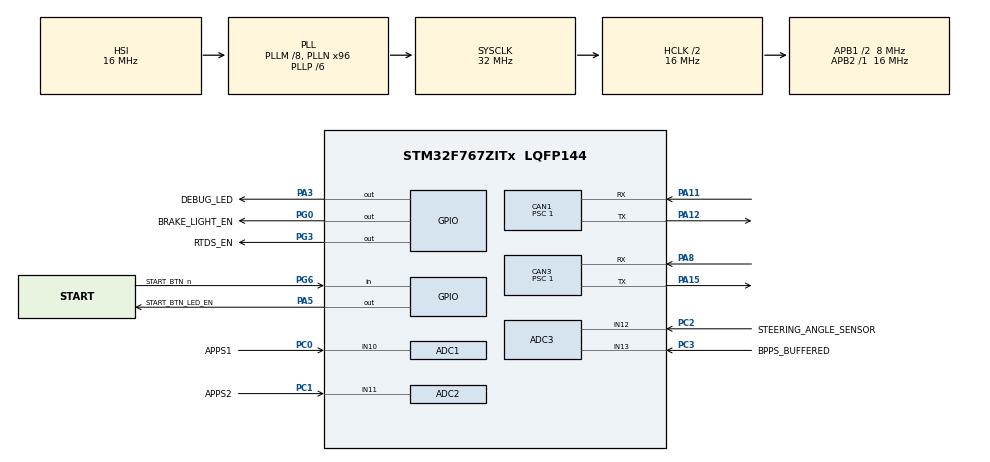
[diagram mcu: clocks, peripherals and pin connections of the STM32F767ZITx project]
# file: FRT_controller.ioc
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ADC1.Channel-0\#ChannelRegularConversion=ADC_CHANNEL_10
ADC1.ContinuousConvMode=ENABLE
ADC1.NbrOfConversionFlag=1
ADC1.Rank-0\#ChannelRegularConversion=1
ADC1.SamplingTime-0\#ChannelRegularConversion=ADC_SAMPLETIME_3CYCLES
ADC1.master=1
ADC2.Channel-0\#ChannelRegularConversion=ADC_CHANNEL_11
ADC2.ContinuousConvMode=ENABLE
ADC2.NbrOfConversionFlag=1
ADC2.Rank-0\#ChannelRegularConversion=1
ADC2.SamplingTime-0\#ChannelRegularConversion=ADC_SAMPLETIME_3CYCLES
ADC3.Channel-0\#ChannelRegularConversion=ADC_CHANNEL_12
ADC3.NbrOfConversionFlag=1
ADC3.Rank-0\#ChannelRegularConversion=1
ADC3.SamplingTime-0\#ChannelRegularConversion=ADC_SAMPLETIME_3CYCLES
CAN1.ABOM=ENABLE
CAN1.AWUM=DISABLE
CAN1.BS1=CAN_BS1_13TQ
CAN1.BS2=CAN_BS2_2TQ
CAN1.CalculateBaudRate=500000
CAN1.CalculateTimeBit=2000
CAN1.CalculateTimeQuantum=125.0
CAN1.NART=DISABLE
CAN1.Prescaler=1
CAN1.RFLM=DISABLE
CAN1.TTCM=DISABLE
CAN1.TXFP=DISABLE
CAN3.ABOM=ENABLE
CAN3.BS1=CAN_BS1_13TQ
CAN3.BS2=CAN_BS2_2TQ
CAN3.CalculateBaudRate=500000
CAN3.CalculateTimeBit=2000
CAN3.CalculateTimeQuantum=125.0
CAN3.Prescaler=1
Mcu.Family=STM32F7
Mcu.Name=STM32F767ZITx
Mcu.Package=LQFP144
NVIC.CAN1_RX0_IRQn=true\:0\:0\:false\:false\:true\:true\:true\:true
NVIC.PriorityGroup=NVIC_PRIORITYGROUP_4
PA11.Mode=CAN_Activate
PA11.Signal=CAN1_RX
PA12.Mode=CAN_Activate
PA12.Signal=CAN1_TX
PA15.Mode=CAN_Activate
PA15.Signal=CAN3_TX
PA3.GPIO_Label=DEBUG_LED
PA3.Signal=GPIO_Output
PA5.GPIO_Label=START_BTN_LED_EN
PA5.Signal=GPIO_Output
PA8.Mode=CAN_Activate
PA8.Signal=CAN3_RX
PC0.GPIO_Label=APPS1
PC0.Signal=ADCx_IN10
PC1.GPIO_Label=APPS2
PC1.Signal=ADCx_IN11
PC2.GPIO_Label=STEERING_ANGLE_SENSOR
PC2.Signal=ADCx_IN12
PC3.GPIO_Label=BPPS_BUFFERED
PC3.Signal=ADCx_IN13
PG0.GPIO_Label=BRAKE_LIGHT_EN
PG0.Signal=GPIO_Output
PG3.GPIO_Label=RTDS_EN
PG3.Signal=GPIO_Output
PG6.GPIO_Label=START_BTN_n
PG6.Signal=GPIO_Input
ProjectManager.HeapSize=0x200
ProjectManager.StackSize=0x400
ProjectManager.TargetToolchain=STM32CubeIDE
RCC.AHBCLKDivider=RCC_SYSCLK_DIV2
RCC.AHBFreq_Value=16000000
RCC.APB1CLKDivider=RCC_HCLK_DIV2
RCC.APB1Freq_Value=8000000
RCC.APB1TimFreq_Value=16000000
RCC.APB2Freq_Value=16000000
RCC.APB2TimFreq_Value=16000000
RCC.CortexFreq_Value=16000000
RCC.HCLKFreq_Value=16000000
RCC.HSE_VALUE=8000000
RCC.HSI_VALUE=16000000
RCC.LSE_VALUE=32768
RCC.PLLM=8
RCC.PLLN=96
RCC.PLLP=RCC_PLLP_DIV6
RCC.SYSCLKFreq_VALUE=32000000
RCC.SYSCLKSource=RCC_SYSCLKSOURCE_PLLCLK
RCC.USBFreq_Value=96000000
RCC.VCOOutputFreq_Value=192000000
SH.ADCx_IN10.0=ADC1_IN10,IN10
SH.ADCx_IN11.0=ADC2_IN11,IN11
SH.ADCx_IN12.0=ADC3_IN12,IN12
SH.ADCx_IN13.0=ADC3_IN13,IN13
board=custom

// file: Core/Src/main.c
/* USER CODE BEGIN Header */
/**
  ******************************************************************************
  * @file           : main.c
  * @brief          : Main program body
  ******************************************************************************
  * @attention
  *
  * Copyright (c) 2023 STMicroelectronics.
  * All rights reserved.
  *
  * This software is licensed under terms that can be found in the LICENSE file
  * in the root directory of this software component.
  * If no LICENSE file comes with this software, it is provided AS-IS.
  *
  ******************************************************************************
  */
/* USER CODE END Header */
#include "main.h"

/* USER CODE BEGIN Includes */
#include <string.h>
#include <stdbool.h>
#include <stdlib.h>
/* USER CODE END Includes */

/* USER CODE BEGIN PTD */
typedef enum {
	STATUS_UNKNOWN = 0,
	STATUS_SYSTEM_READY,
	STATUS_DC_ON,
	STATUS_QUIT_DC_ON,
	STATUS_INVERTER_ON,
	STATUS_QUIT_INVERTER_ON, //Running status
	STATUS_DERATING,
	STATUS_ERROR,
	STATUS_RUNNING,
} AMK_Status;

typedef enum {
	CONTROL_UNKNOWN = 0,
	CONTROL_DC_ON,
	CONTROL_ENABLE,
	CONTROL_INVERTER_ON,
	CONTROL_TS_READY,
	CONTROL_ERROR_RESET_RIGHT,
	CONTROL_ERROR_RESET_LEFT,
	CONTROL_RUNNING,
} AMK_Control;
/* USER CODE END PTD */

/* USER CODE BEGIN PM */
#define APPS1_MAX_VALUE (85u)
#define APPS1_MIN_VALUE (14u)
#define APPS2_MAX_VALUE (75u)
#define APPS2_MIN_VALUE (5u)
#define BPPS_MAX_VALUE (25u)
#define BPPS_MIN_VALUE (10u)
#define MAX_ADC_VALUE (4095u)
/* USER CODE END PM */

ADC_HandleTypeDef hadc1;
ADC_HandleTypeDef hadc2;
ADC_HandleTypeDef hadc3;

CAN_HandleTypeDef hcan1;
CAN_HandleTypeDef hcan3;

/* USER CODE BEGIN PV */
CAN_TxHeaderTypeDef TxHeader;
CAN_TxHeaderTypeDef AMK_TxHeader_L;
CAN_RxHeaderTypeDef RxHeader;
CAN_RxHeaderTypeDef RxHeader_2;
uint8_t TxData[8];
uint8_t AMK_TxData_L[8];
uint8_t RxData[8];
uint8_t RxData_2[8];
uint32_t TxMailbox;
AMK_Status MotorStatus_R = 0;
AMK_Status MotorStatus_L = 0;
AMK_Control ControlStatus = 0;
_Bool TsOn_n = 0;
_Bool BrakeOn = 0; //FOR TESTING ONLY, needs to be 0 in production
_Bool ReadyToDrive_n = 0;
_Bool PedalConflict = 0;

uint16_t APPS1_VAL;
uint16_t APPS2_VAL;
uint16_t BPPS_VAL;
/* USER CODE END PV */

void SystemClock_Config(void);
static void MX_GPIO_Init(void);
static void MX_CAN1_Init(void);
static void MX_ADC1_Init(void);
static void MX_ADC2_Init(void);
static void MX_ADC3_Init(void);
static void MX_CAN3_Init(void);
/* USER CODE BEGIN PFP */
static void CAN_Config(void);
/* USER CODE END PFP */

/* USER CODE BEGIN 0 */
uint16_t APPS1_ADC_Percent(void) {
	uint16_t ADC_VAL;

	HAL_ADC_Start(&hadc1);
	HAL_ADC_PollForConversion(&hadc1, 10);
	ADC_VAL = HAL_ADC_GetValue(&hadc1);
	HAL_ADC_Stop(&hadc1);
	return ADC_VAL;
}

uint16_t APPS2_ADC_Percent(void) {
	uint16_t ADC_VAL;

	HAL_ADC_Start(&hadc2);
	HAL_ADC_PollForConversion(&hadc2, 10);
	ADC_VAL = HAL_ADC_GetValue(&hadc2);
	HAL_ADC_Stop(&hadc2);
	return ADC_VAL;
}

uint16_t BPPS_ADC_Percent(void) {
	uint16_t ADC_VAL;

	HAL_ADC_Start(&hadc3);
	HAL_ADC_PollForConversion(&hadc3, 10);
	ADC_VAL = HAL_ADC_GetValue(&hadc3);
	HAL_ADC_Stop(&hadc3);
	return ADC_VAL;
}

/* USER CODE END 0 */

int main(void)
{

  /* MCU Configuration--------------------------------------------------------*/

  /* Reset of all peripherals, Initializes the Flash interface and the Systick. */
  HAL_Init();

  /* Configure the system clock */
  SystemClock_Config();

  /* Initialize all configured peripherals */
  MX_GPIO_Init();
  MX_CAN1_Init();
  MX_ADC1_Init();
  MX_ADC2_Init();
  MX_ADC3_Init();
  MX_CAN3_Init();
  /* USER CODE BEGIN 2 */
  	CAN_Config();

	if (HAL_CAN_ActivateNotification(&hcan1, CAN_IT_RX_FIFO0_MSG_PENDING) != HAL_OK)
	{
	  Error_Handler();
	}
	// Initialize TxHeader and TxData
	TxHeader.DLC = 8;
	TxHeader.IDE = CAN_ID_STD;
	TxHeader.RTR = CAN_RTR_DATA;
	TxHeader.StdId = 0x1FF;
	TxHeader.TransmitGlobalTime = DISABLE;

	TxData[0] = 0x00;
	TxData[1] = 0x00;
	TxData[2] = 0x00;
	TxData[3] = 0x00;
	TxData[4] = 0x00;
	TxData[5] = 0x00;
	TxData[6] = 0x00;
	TxData[7] = 0x00;
  /* USER CODE END 2 */

  /* Infinite loop */
  /* USER CODE BEGIN WHILE */
  while (1)
  {
	  HAL_Delay(10);
	  APPS1_VAL = APPS1_ADC_Percent();
	  APPS2_VAL = APPS2_ADC_Percent();
	  //BPPS_VAL = BPPS_ADC_Percent();
	  BPPS_VAL = 1000;
	  ReadyToDrive_n = HAL_GPIO_ReadPin(START_BTN_n_GPIO_Port, START_BTN_n_Pin);
	  //HAL_GPIO_TogglePin(START_BTN_LED_EN_GPIO_Port, START_BTN_LED_EN_Pin);
	  //HAL_GPIO_WritePin(RTDS_EN_GPIO_Port, RTDS_EN_Pin, 1);

	  TxData[1] = ReadyToDrive_n;
	  TxData[2] = APPS1_VAL & 0xFF;
	  TxData[3] = (APPS1_VAL >> 8) & 0xFF;
	  TxData[4] = APPS2_VAL & 0xFF;
	  TxData[5] = (APPS2_VAL >> 8) & 0xFF;
	  TxData[6] = BPPS_VAL & 0xFF;
	  TxData[7] = (BPPS_VAL >> 8) & 0xFF;

	  HAL_CAN_AddTxMessage(&hcan3, &TxHeader, TxData, &TxMailbox);
	  memset(&TxData[0],0x00, 8*sizeof(uint8_t));

  }
    /* USER CODE END WHILE */

}

void SystemClock_Config(void)
{
  RCC_OscInitTypeDef RCC_OscInitStruct = {0};
  RCC_ClkInitTypeDef RCC_ClkInitStruct = {0};

  /** Configure the main internal regulator output voltage
  */
  __HAL_RCC_PWR_CLK_ENABLE();
  __HAL_PWR_VOLTAGESCALING_CONFIG(PWR_REGULATOR_VOLTAGE_SCALE3);

  /** Initializes the RCC Oscillators according to the specified parameters
  * in the RCC_OscInitTypeDef structure.
  */
  RCC_OscInitStruct.OscillatorType = RCC_OSCILLATORTYPE_HSI;
  RCC_OscInitStruct.HSIState = RCC_HSI_ON;
  RCC_OscInitStruct.HSICalibrationValue = RCC_HSICALIBRATION_DEFAULT;
  RCC_OscInitStruct.PLL.PLLState = RCC_PLL_ON;
  RCC_OscInitStruct.PLL.PLLSource = RCC_PLLSOURCE_HSI;
  RCC_OscInitStruct.PLL.PLLM = 8;
  RCC_OscInitStruct.PLL.PLLN = 96;
  RCC_OscInitStruct.PLL.PLLP = RCC_PLLP_DIV6;
  RCC_OscInitStruct.PLL.PLLQ = 2;
  RCC_OscInitStruct.PLL.PLLR = 2;
  if (HAL_RCC_OscConfig(&RCC_OscInitStruct) != HAL_OK)
  {
    Error_Handler();
  }

  /** Initializes the CPU, AHB and APB buses clocks
  */
  RCC_ClkInitStruct.ClockType = RCC_CLOCKTYPE_HCLK|RCC_CLOCKTYPE_SYSCLK
                              |RCC_CLOCKTYPE_PCLK1|RCC_CLOCKTYPE_PCLK2;
  RCC_ClkInitStruct.SYSCLKSource = RCC_SYSCLKSOURCE_PLLCLK;
  RCC_ClkInitStruct.AHBCLKDivider = RCC_SYSCLK_DIV2;
  RCC_ClkInitStruct.APB1CLKDivider = RCC_HCLK_DIV2;
  RCC_ClkInitStruct.APB2CLKDivider = RCC_HCLK_DIV1;

  if (HAL_RCC_ClockConfig(&RCC_ClkInitStruct, FLASH_LATENCY_0) != HAL_OK)
  {
    Error_Handler();
  }
}

static void MX_ADC1_Init(void)
{

  ADC_ChannelConfTypeDef sConfig = {0};

  /** Configure the global features of the ADC (Clock, Resolution, Data Alignment and number of conversion)
  */
  hadc1.Instance = ADC1;
  hadc1.Init.ClockPrescaler = ADC_CLOCK_SYNC_PCLK_DIV2;
  hadc1.Init.Resolution = ADC_RESOLUTION_12B;
  hadc1.Init.ScanConvMode = ADC_SCAN_DISABLE;
  hadc1.Init.ContinuousConvMode = ENABLE;
  hadc1.Init.DiscontinuousConvMode = DISABLE;
  hadc1.Init.ExternalTrigConvEdge = ADC_EXTERNALTRIGCONVEDGE_NONE;
  hadc1.Init.ExternalTrigConv = ADC_SOFTWARE_START;
  hadc1.Init.DataAlign = ADC_DATAALIGN_RIGHT;
  hadc1.Init.NbrOfConversion = 1;
  hadc1.Init.DMAContinuousRequests = DISABLE;
  hadc1.Init.EOCSelection = ADC_EOC_SINGLE_CONV;
  if (HAL_ADC_Init(&hadc1) != HAL_OK)
  {
    Error_Handler();
  }

  /** Configure for the selected ADC regular channel its corresponding rank in the sequencer and its sample time.
  */
  sConfig.Channel = ADC_CHANNEL_10;
  sConfig.Rank = ADC_REGULAR_RANK_1;
  sConfig.SamplingTime = ADC_SAMPLETIME_3CYCLES;
  if (HAL_ADC_ConfigChannel(&hadc1, &sConfig) != HAL_OK)
  {
    Error_Handler();
  }

}

static void MX_ADC2_Init(void)
{

  ADC_ChannelConfTypeDef sConfig = {0};

  /** Configure the global features of the ADC (Clock, Resolution, Data Alignment and number of conversion)
  */
  hadc2.Instance = ADC2;
  hadc2.Init.ClockPrescaler = ADC_CLOCK_SYNC_PCLK_DIV2;
  hadc2.Init.Resolution = ADC_RESOLUTION_12B;
  hadc2.Init.ScanConvMode = ADC_SCAN_DISABLE;
  hadc2.Init.ContinuousConvMode = ENABLE;
  hadc2.Init.DiscontinuousConvMode = DISABLE;
  hadc2.Init.ExternalTrigConvEdge = ADC_EXTERNALTRIGCONVEDGE_NONE;
  hadc2.Init.ExternalTrigConv = ADC_SOFTWARE_START;
  hadc2.Init.DataAlign = ADC_DATAALIGN_RIGHT;
  hadc2.Init.NbrOfConversion = 1;
  hadc2.Init.DMAContinuousRequests = DISABLE;
  hadc2.Init.EOCSelection = ADC_EOC_SINGLE_CONV;
  if (HAL_ADC_Init(&hadc2) != HAL_OK)
  {
    Error_Handler();
  }

  /** Configure for the selected ADC regular channel its corresponding rank in the sequencer and its sample time.
  */
  sConfig.Channel = ADC_CHANNEL_11;
  sConfig.Rank = ADC_REGULAR_RANK_1;
  sConfig.SamplingTime = ADC_SAMPLETIME_3CYCLES;
  if (HAL_ADC_ConfigChannel(&hadc2, &sConfig) != HAL_OK)
  {
    Error_Handler();
  }

}

static void MX_ADC3_Init(void)
{

  ADC_ChannelConfTypeDef sConfig = {0};

  /** Configure the global features of the ADC (Clock, Resolution, Data Alignment and number of conversion)
  */
  hadc3.Instance = ADC3;
  hadc3.Init.ClockPrescaler = ADC_CLOCK_SYNC_PCLK_DIV2;
  hadc3.Init.Resolution = ADC_RESOLUTION_12B;
  hadc3.Init.ScanConvMode = ADC_SCAN_DISABLE;
  hadc3.Init.ContinuousConvMode = DISABLE;
  hadc3.Init.DiscontinuousConvMode = DISABLE;
  hadc3.Init.ExternalTrigConvEdge = ADC_EXTERNALTRIGCONVEDGE_NONE;
  hadc3.Init.ExternalTrigConv = ADC_SOFTWARE_START;
  hadc3.Init.DataAlign = ADC_DATAALIGN_RIGHT;
  hadc3.Init.NbrOfConversion = 1;
  hadc3.Init.DMAContinuousRequests = DISABLE;
  hadc3.Init.EOCSelection = ADC_EOC_SINGLE_CONV;
  if (HAL_ADC_Init(&hadc3) != HAL_OK)
  {
    Error_Handler();
  }

  /** Configure for the selected ADC regular channel its corresponding rank in the sequencer and its sample time.
  */
  sConfig.Channel = ADC_CHANNEL_12;
  sConfig.Rank = ADC_REGULAR_RANK_1;
  sConfig.SamplingTime = ADC_SAMPLETIME_3CYCLES;
  if (HAL_ADC_ConfigChannel(&hadc3, &sConfig) != HAL_OK)
  {
    Error_Handler();
  }

}

static void MX_CAN1_Init(void)
{

  hcan1.Instance = CAN1;
  hcan1.Init.Prescaler = 1;
  hcan1.Init.Mode = CAN_MODE_NORMAL;
  hcan1.Init.SyncJumpWidth = CAN_SJW_1TQ;
  hcan1.Init.TimeSeg1 = CAN_BS1_13TQ;
  hcan1.Init.TimeSeg2 = CAN_BS2_2TQ;
  hcan1.Init.TimeTriggeredMode = DISABLE;
  hcan1.Init.AutoBusOff = ENABLE;
  hcan1.Init.AutoWakeUp = DISABLE;
  hcan1.Init.AutoRetransmission = DISABLE;
  hcan1.Init.ReceiveFifoLocked = DISABLE;
  hcan1.Init.TransmitFifoPriority = DISABLE;
  if (HAL_CAN_Init(&hcan1) != HAL_OK)
  {
    Error_Handler();
  }

}

static void MX_CAN3_Init(void)
{

  hcan3.Instance = CAN3;
  hcan3.Init.Prescaler = 1;
  hcan3.Init.Mode = CAN_MODE_NORMAL;
  hcan3.Init.SyncJumpWidth = CAN_SJW_1TQ;
  hcan3.Init.TimeSeg1 = CAN_BS1_13TQ;
  hcan3.Init.TimeSeg2 = CAN_BS2_2TQ;
  hcan3.Init.TimeTriggeredMode = DISABLE;
  hcan3.Init.AutoBusOff = ENABLE;
  hcan3.Init.AutoWakeUp = DISABLE;
  hcan3.Init.AutoRetransmission = DISABLE;
  hcan3.Init.ReceiveFifoLocked = DISABLE;
  hcan3.Init.TransmitFifoPriority = DISABLE;
  if (HAL_CAN_Init(&hcan3) != HAL_OK)
  {
    Error_Handler();
  }

}

static void MX_GPIO_Init(void)
{
  GPIO_InitTypeDef GPIO_InitStruct = {0};

  /* GPIO Ports Clock Enable */
  __HAL_RCC_GPIOC_CLK_ENABLE();
  __HAL_RCC_GPIOA_CLK_ENABLE();
  __HAL_RCC_GPIOG_CLK_ENABLE();

  /*Configure GPIO pin Output Level */
  HAL_GPIO_WritePin(GPIOA, DEBUG_LED_Pin|START_BTN_LED_EN_Pin, GPIO_PIN_RESET);

  /*Configure GPIO pin Output Level */
  HAL_GPIO_WritePin(GPIOG, BRAKE_LIGHT_EN_Pin|RTDS_EN_Pin, GPIO_PIN_RESET);

  /*Configure GPIO pins : DEBUG_LED_Pin START_BTN_LED_EN_Pin */
  GPIO_InitStruct.Pin = DEBUG_LED_Pin|START_BTN_LED_EN_Pin;
  GPIO_InitStruct.Mode = GPIO_MODE_OUTPUT_PP;
  GPIO_InitStruct.Pull = GPIO_NOPULL;
  GPIO_InitStruct.Speed = GPIO_SPEED_FREQ_LOW;
  HAL_GPIO_Init(GPIOA, &GPIO_InitStruct);

  /*Configure GPIO pins : BRAKE_LIGHT_EN_Pin RTDS_EN_Pin */
  GPIO_InitStruct.Pin = BRAKE_LIGHT_EN_Pin|RTDS_EN_Pin;
  GPIO_InitStruct.Mode = GPIO_MODE_OUTPUT_PP;
  GPIO_InitStruct.Pull = GPIO_NOPULL;
  GPIO_InitStruct.Speed = GPIO_SPEED_FREQ_LOW;
  HAL_GPIO_Init(GPIOG, &GPIO_InitStruct);

  /*Configure GPIO pin : START_BTN_n_Pin */
  GPIO_InitStruct.Pin = START_BTN_n_Pin;
  GPIO_InitStruct.Mode = GPIO_MODE_INPUT;
  GPIO_InitStruct.Pull = GPIO_NOPULL;
  HAL_GPIO_Init(START_BTN_n_GPIO_Port, &GPIO_InitStruct);

}

/* USER CODE BEGIN 4 */
static void CAN_Config(void)
{
	CAN_FilterTypeDef sFilterConfig;
	sFilterConfig.FilterBank = 0;
	sFilterConfig.FilterMode = CAN_FILTERMODE_IDMASK;
	sFilterConfig.FilterScale = CAN_FILTERSCALE_32BIT;
	sFilterConfig.FilterIdHigh = 0x0000;
	sFilterConfig.FilterIdLow = 0x0000;
	sFilterConfig.FilterMaskIdHigh = 0x0000; //Only ID 0x284 and 0x285 can pass through
	sFilterConfig.FilterMaskIdLow = 0x0000;
	sFilterConfig.FilterFIFOAssignment = CAN_RX_FIFO0;
	sFilterConfig.FilterActivation = ENABLE;
	sFilterConfig.SlaveStartFilterBank = 14;

	if (HAL_CAN_ConfigFilter(&hcan1, &sFilterConfig) != HAL_OK)
	{
		/* Filter configuration Error */
		Error_Handler();
	}

	if (HAL_CAN_Start(&hcan1) != HAL_OK)
	{
		/* Start Error */
		Error_Handler();
	}

	if (HAL_CAN_Start(&hcan3) != HAL_OK)
	{
		/* Start Error */
		Error_Handler();
	}
}

void HAL_CAN_RxFifo0MsgPendingCallback(CAN_HandleTypeDef *hcan)
{
	//Get Rx message
	if (HAL_CAN_GetRxMessage(&hcan1, CAN_RX_FIFO0, &RxHeader, RxData) != HAL_OK) {
		Error_Handler();
	}
	if (RxHeader.StdId == 0x100) {
		if (RxData[0] == 0x01) {
			HAL_GPIO_WritePin(BRAKE_LIGHT_EN_GPIO_Port, BRAKE_LIGHT_EN_Pin, 1);
		} else {
			HAL_GPIO_WritePin(BRAKE_LIGHT_EN_GPIO_Port, BRAKE_LIGHT_EN_Pin, 0);
		}

		if (RxData[1] == 0x01) {
			HAL_GPIO_WritePin(RTDS_EN_GPIO_Port, RTDS_EN_Pin, 1);
		} else {
			HAL_GPIO_WritePin(RTDS_EN_GPIO_Port, RTDS_EN_Pin, 0);
		}
	}
}
/* USER CODE END 4 */

void Error_Handler(void)
{
  /* USER CODE BEGIN Error_Handler_Debug */
  /* User can add his own implementation to report the HAL error return state */
  __disable_irq();
  HAL_GPIO_WritePin(DEBUG_LED_GPIO_Port, DEBUG_LED_Pin, 1);
  while (1)
  {
  }
  /* USER CODE END Error_Handler_Debug */
}
